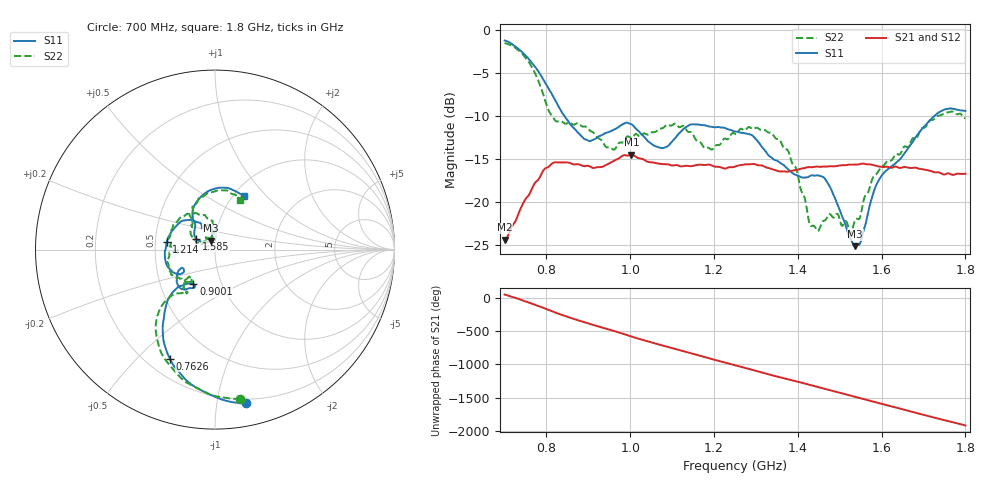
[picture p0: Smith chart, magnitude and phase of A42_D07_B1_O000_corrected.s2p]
! Created with skrf 1.9.0 (http://scikit-rf.org).
# Hz S RI R 50.0
!freq ReS11 ImS11 ReS21 ImS21 ReS12 ImS12 ReS22 ImS22
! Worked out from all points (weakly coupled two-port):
!   1601 points, 700 MHz to 1.8 GHz, reference 50 ohm
!   highest |S21| = -14.51 dB at 1.002 GHz (marker M1); lowest = -24.4 dB at 700.7 MHz (marker M2)
!   lowest |S11| = -25.2 dB at 1.537 GHz (marker M3), VSWR 1.12, Z = 47.4 + j4.68 ohm
!   |S11| at or under -10 dB: 842.6 MHz to 1.726 GHz (883.1 MHz wide, 68.8 % of centre)
!   |S22| runs from -23.7 to -1.5 dB; largest |S21 - S12| = 0.0035
!   S11 on the Smith chart (normalised r, x): 700 MHz: 0.17, -1.21; 762.6 MHz: 0.29, -0.63; 900.1 MHz: 0.73, -0.30; 1.214 GHz: 0.57, +0.05; 1.585 GHz: 0.80, +0.10; 1.8 GHz: 1.12, +0.75
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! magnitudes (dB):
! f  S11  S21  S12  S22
! 700 MHz  -1.2  -24.4  -24.2  -1.5
! 700.7 MHz  -1.2  -24.4  -24.1  -1.5
! 762.6 MHz  -3.6  -18.8  -18.7  -4.1
! 818.2 MHz  -7.9  -15.4  -15.5  -10.4
! 883.6 MHz  -12.3  -15.8  -15.7  -11.2
! 900.1 MHz  -12.9  -15.8  -15.8  -11.5
! 958.5 MHz  -11.7  -15.3  -15.3  -13.9
! 1.002 GHz  -11.0  -14.5  -14.6  -12.6
! 1.067 GHz  -13.6  -15.6  -15.5  -11.6
! 1.143 GHz  -11.0  -15.9  -15.8  -11.8
! 1.214 GHz  -11.3  -15.9  -15.9  -13.4
! 1.25 GHz  -11.8  -15.9  -15.8  -12.1
! 1.357 GHz  -15.4  -16.5  -16.4  -12.8
! 1.396 GHz  -16.9  -16.3  -16.3  -16.1
! 1.434 GHz  -16.9  -16.0  -15.9  -22.8
! 1.471 GHz  -17.8  -15.9  -15.9  -21.8
! 1.537 GHz  -25.2  -15.7  -15.7  -22.2
! 1.551 GHz  -24.5  -15.6  -15.6  -21.3
! 1.585 GHz  -18.2  -15.8  -15.8  -16.9
! 1.617 GHz  -16.1  -16.0  -15.9  -15.2
! 1.733 GHz  -9.7  -16.6  -16.6  -10.0
! 1.8 GHz  -9.4  -16.7  -16.7  -10.2
